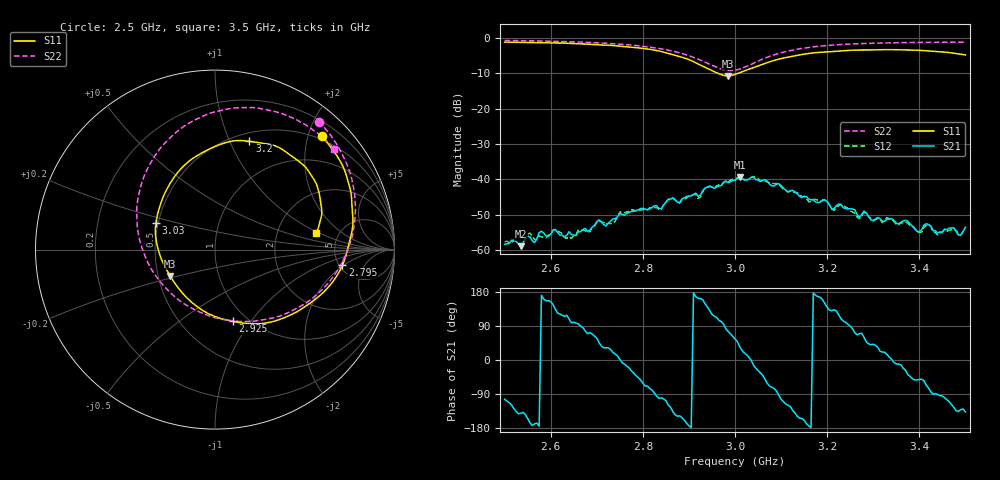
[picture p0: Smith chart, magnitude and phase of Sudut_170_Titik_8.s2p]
# Hz S RI R 50
! CMT, C1220, 16058040, 17.2.0/1
! Date: 15/08/2018 09:56:17
! Data: Format (Calibration Info)
! Freq  S11: Re/Im (F2)  S21: Re/Im (F2)  S12: Re/Im (F2)  S22: Re/Im (F2)
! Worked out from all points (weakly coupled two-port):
!   201 points, 2.5 GHz to 3.5 GHz, reference 50 ohm
!   highest |S21| = -39.29 dB at 3.01 GHz (marker M1); lowest = -58.8 dB at 2.535 GHz (marker M2)
!   lowest |S11| = -10.8 dB at 2.985 GHz (marker M3), VSWR 1.81, Z = 28.9 - j9.3 ohm
!   |S11| at or under -10 dB: 2.963 GHz to 3.007 GHz (44.41 MHz wide, 1.49 % of centre)
!   |S22| runs from -9.2 to -0.7 dB; largest |S21 - S12| = 0.00087
!   S11 on the Smith chart (normalised r, x): 2.5 GHz: 0.43, +2.24; 2.795 GHz: 5.34, -1.89; 2.925 GHz: 0.85, -0.82; 3.03 GHz: 0.49, +0.16; 3.2 GHz: 0.59, +1.19; 3.5 GHz: 3.39, +0.96
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2.5e9  0.5959 0.6332  -0.000284 -0.00118  -0.000289 -0.00128  0.5775 0.7134
2.535e9  0.6369 0.5801  -0.000884 -0.000728  -0.000886 -0.00077  0.6165 0.6706
2.555e9  0.6569 0.5538  -0.0015 -0.000378  -0.00168 -0.0005  0.6386 0.6451
2.645e9  0.7424 0.377  -0.00024 0.00165  -0.000329 0.00143  0.7278 0.4933
2.67e9  0.7573 0.3175  0.00016 0.00196  0.00029 0.0019  0.7488 0.4394
2.795e9  0.7103 -0.0862  0.00235 -0.00309  0.00225 -0.00299  0.7642 0.0728
2.835e9  0.6083 -0.2339  -0.000769 -0.00383  -0.000607 -0.00367  0.7028 -0.0808
2.865e9  0.4702 -0.3383  -0.00396 -0.00382  -0.00385 -0.00391  0.6156 -0.2038
2.925e9  0.0975 -0.3991  -0.00574 0.00183  -0.00543 0.00155  0.291 -0.3871
2.985e9  -0.2493 -0.1472  0.00231 0.00872  0.002 0.00903  -0.176 -0.2997
3e9  -0.3009 -0.0481  0.00552 0.00805  0.00595 0.00777  -0.2765 -0.2116
3.01e9  -0.3209 0.0176  0.00883 0.00631  0.00846 0.00622  -0.3328 -0.1424
3.03e9  -0.3292 0.1461  0.01 0.00132  0.0101 0.00126  -0.4072 0.011
3.1e9  -0.153 0.4856  -0.00189 -0.00798  -0.00215 -0.00753  -0.3417 0.511
3.17e9  0.0967 0.6047  -0.00515 0.000301  -0.00524 -3.26e-05  -0.0711 0.7419
3.2e9  0.1917 0.6031  -0.00367 0.00318  -0.00353 0.0034  0.0408 0.7765
3.27e9  0.3782 0.5561  0.00103 0.00274  0.000929 0.00263  0.2615 0.7843
3.335e9  0.5063 0.4574  0.00273 0.000344  0.0028 0.000262  0.4146 0.7414
3.4e9  0.5745 0.3365  0.00115 -0.00143  0.000971 -0.0015  0.531 0.6772
3.415e9  0.5826 0.3012  0.000958 -0.00217  0.000911 -0.00206  0.5553 0.6607
3.49e9  0.575 0.119  -0.00108 -0.00125  -0.00115 -0.00116  0.6526 0.5712
3.5e9  0.5654 0.0949  -0.00156 -0.00144  -0.0015 -0.00121  0.6635 0.5591
